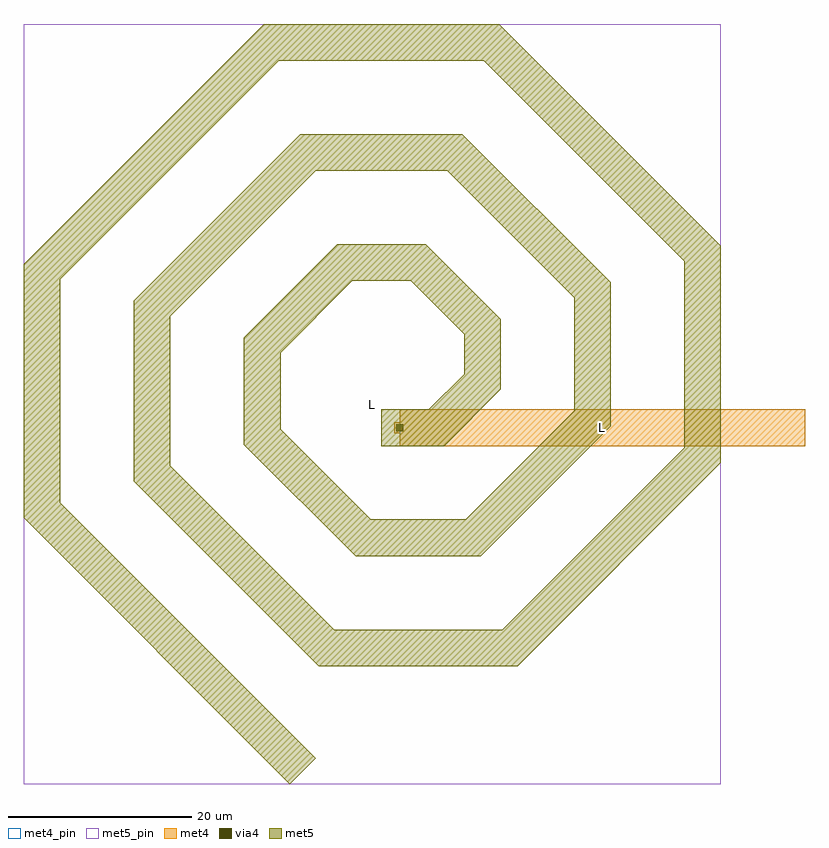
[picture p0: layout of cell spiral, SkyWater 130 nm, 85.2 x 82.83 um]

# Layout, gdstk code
import gdstk
lib = gdstk.Library(unit=1e-6, precision=1e-09)
def R(c, l, rs):  # rectangles x0, y0, x1, y1
    for r in rs: c.add(gdstk.rectangle(r[:2], r[2:], *l))
def P(c, l, *ps):  # polygons
    for p in ps: c.add(gdstk.Polygon(p, *l))
met4_pin = (71, 16)
met4 = (71, 20)
via4 = (71, 44)
met5_pin = (72, 16)
met5 = (72, 20)

spiral = lib.new_cell('spiral')
R(spiral, met4_pin, [(0,-2,44.2,2)])
R(spiral, met4, [(0,-2,44.2,2), (-0.59,-0.59,0.59,0.59)])
R(spiral, via4, [(-0.4,-0.4,0.4,0.4)])
R(spiral, met5_pin, [(-41,-38.83,35,44)])
R(spiral, met5, [(-1.25,-0.8,1.25,0.8)])
P(spiral, met5, [(-12,-38.83),(-41,-9.83),(-41,17.83),(-14.83,44),(10.83,44),(35,19.83),(35,-3.83),(12.83,-26),(-8.83,-26),(-29,-5.83),(-29,13.83),(-10.83,32),(6.83,32),(23,15.83),(23,0.17),(8.83,-14),(-4.83,-14),(-17,-1.83),(-17,9.83),(-6.83,20),(2.83,20),(11,11.83),(11,4.17),(4.83,-2),(-2,-2),(-2,2),(3.17,2),(7,5.83),(7,10.17),(1.17,16),(-5.17,16),(-13,8.17),(-13,-0.17),(-3.17,-10),(7.17,-10),(19,1.83),(19,14.17),(5.17,28),(-9.17,28),(-25,12.17),(-25,-4.17),(-7.17,-22),(11.17,-22),(31,-2.17),(31,18.17),(9.17,40),(-13.17,40),(-37,16.17),(-37,-8.17),(-9.17,-36)])
spiral.add(gdstk.Label('L', (-3,2.585), layer=72, texttype=16))
spiral.add(gdstk.Label('L', (-3,2.585), layer=72, texttype=5))
spiral.add(gdstk.Label('L', (22.1,0), layer=71, texttype=16))
spiral.add(gdstk.Label('L', (22.1,0), layer=71, texttype=5))

lib.write_gds('spiral.gds')
